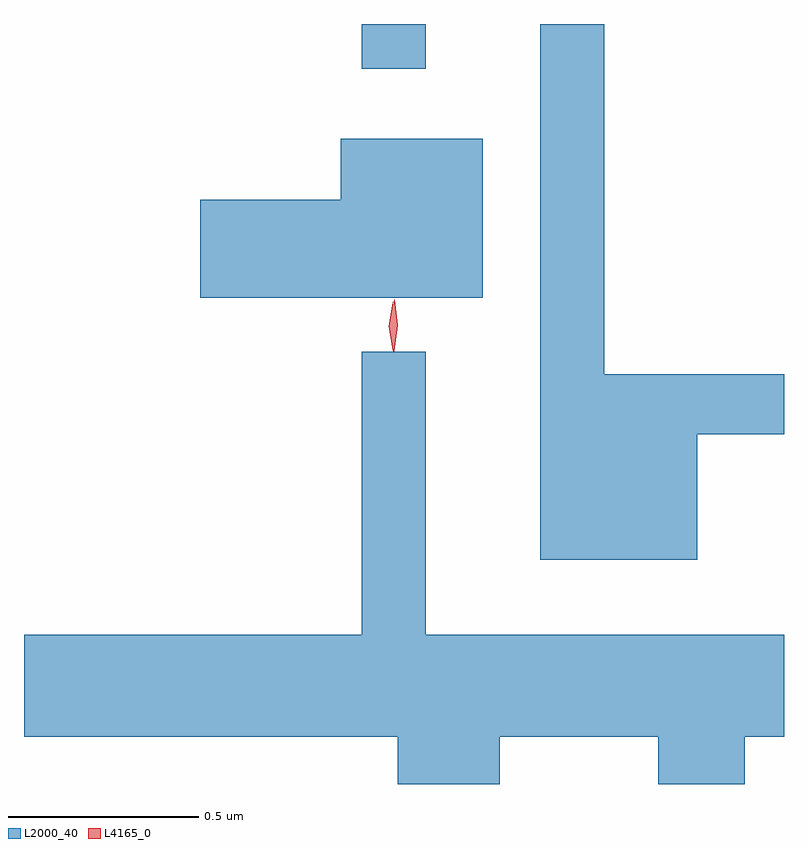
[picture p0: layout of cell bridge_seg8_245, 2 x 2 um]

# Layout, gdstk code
import gdstk
lib = gdstk.Library(unit=1e-6, precision=1e-09)
def R(c, l, rs):  # rectangles x0, y0, x1, y1
    for r in rs: c.add(gdstk.rectangle(r[:2], r[2:], *l))
def P(c, l, *ps):  # polygons
    for p in ps: c.add(gdstk.Polygon(p, *l))
L2000_40 = (2000, 40)
L4165_0 = (4165, 0)

bridge_seg8_245 = lib.new_cell('bridge_seg8_245')
R(bridge_seg8_245, L2000_40, [(1054.141,1867.033,1054.309,1867.151)])
P(bridge_seg8_245, L2000_40, [(1055.024,1866.071),(1055.252,1866.071),(1055.252,1866.229),(1054.779,1866.229),(1054.779,1867.151),(1054.611,1867.151),(1054.611,1865.741),(1055.024,1865.741)],
  [(1054.459,1866.849),(1054.086,1866.849),(1054.086,1866.689),(1053.716,1866.689),(1053.716,1866.431),(1054.459,1866.431)],
  [(1054.504,1865.276),(1054.921,1865.276),(1054.921,1865.151),(1055.149,1865.151),(1055.149,1865.276),(1055.252,1865.276),(1055.252,1865.544),(1054.309,1865.544),(1054.309,1866.288),(1054.141,1866.288),(1054.141,1865.544),(1053.252,1865.544),(1053.252,1865.276),(1054.236,1865.276),(1054.236,1865.151),(1054.504,1865.151)])
P(bridge_seg8_245, L4165_0, [(1054.222,1866.293),(1054.222,1866.293),(1054.212,1866.356),(1054.222,1866.419),(1054.222,1866.42),(1054.222,1866.419),(1054.232,1866.356),(1054.222,1866.293)],
  [(1054.224,1866.29),(1054.216,1866.358),(1054.226,1866.425),(1054.226,1866.426),(1054.227,1866.425),(1054.236,1866.358),(1054.226,1866.29),(1054.225,1866.29)])

lib.write_gds('bridge_seg8_245.gds')
